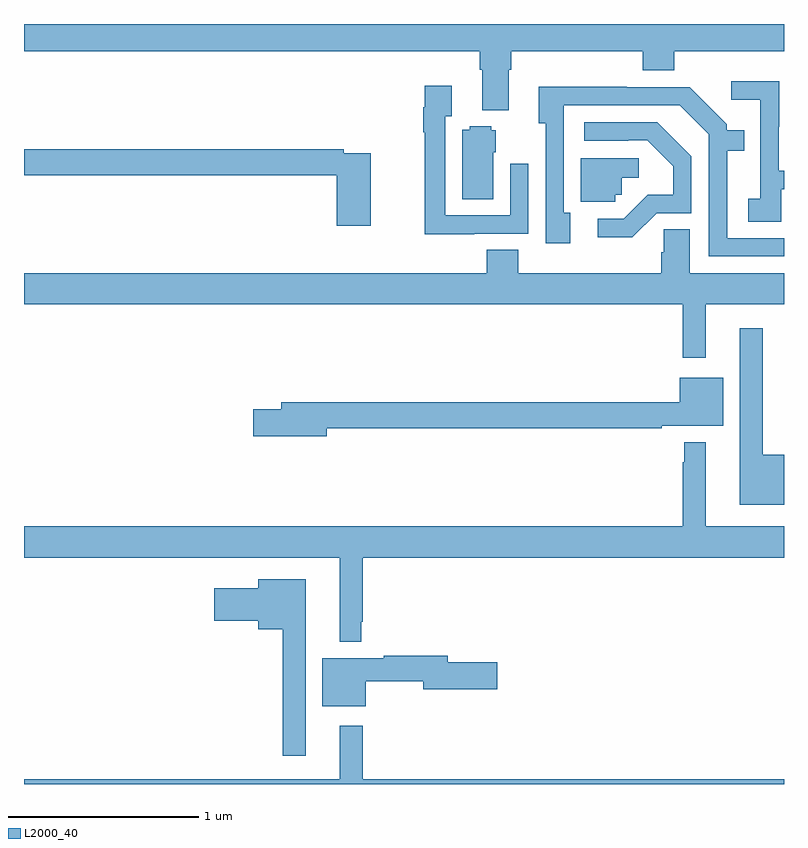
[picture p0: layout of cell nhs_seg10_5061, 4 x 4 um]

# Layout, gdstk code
import gdstk
lib = gdstk.Library(unit=1e-6, precision=1e-09)
def P(c, l, *ps):  # polygons
    for p in ps: c.add(gdstk.Polygon(p, *l))
L2000_40 = (2000, 40)

nhs_seg10_5061 = lib.new_cell('nhs_seg10_5061')
P(nhs_seg10_5061, L2000_40, [(407.551,1260.26),(407.564,1260.26),(407.564,1260.356),(408.257,1260.356),(408.257,1260.257),(408.422,1260.257),(408.422,1260.356),(409,1260.356),(409,1260.5),(405,1260.5),(405,1260.356),(407.399,1260.356),(407.399,1260.26),(407.411,1260.26),(407.411,1260.047),(407.551,1260.047)],
  [(408.985,1259.629),(409,1259.629),(409,1259.727),(408.972,1259.727),(408.972,1259.96),(408.975,1259.96),(408.975,1260.199),(408.723,1260.199),(408.723,1260.101),(408.876,1260.101),(408.876,1259.58),(408.813,1259.58),(408.813,1259.458),(408.985,1259.458)],
  [(407.371,1259.397),(407.655,1259.397),(407.655,1259.764),(407.559,1259.764),(407.559,1259.493),(407.217,1259.493),(407.217,1260.014),(407.251,1260.014),(407.251,1260.175),(407.109,1260.175),(407.109,1260.062),(407.101,1260.062),(407.101,1259.93),(407.109,1259.93),(407.109,1259.393),(407.371,1259.393)],
  [(409,1259.373),(408.7,1259.373),(408.7,1259.832),(408.791,1259.832),(408.791,1259.941),(408.699,1259.941),(408.699,1259.973),(408.504,1260.168),(408.173,1260.168),(408.173,1260.17),(407.708,1260.17),(407.708,1259.978),(407.745,1259.978),(407.745,1259.346),(407.875,1259.346),(407.875,1259.506),(407.841,1259.506),(407.841,1260.072),(408.45,1260.072),(408.603,1259.919),(408.603,1259.277),(409,1259.277)],
  [(408.33,1259.505),(408.513,1259.505),(408.513,1259.803),(408.334,1259.982),(407.949,1259.982),(407.949,1259.886),(408.179,1259.886),(408.179,1259.889),(408.279,1259.889),(408.416,1259.752),(408.416,1259.602),(408.283,1259.602),(408.156,1259.475),(408.021,1259.475),(408.021,1259.378),(408.202,1259.378)],
  [(407.47,1259.826),(407.482,1259.826),(407.482,1259.94),(407.46,1259.94),(407.46,1259.962),(407.346,1259.962),(407.346,1259.944),(407.306,1259.944),(407.306,1259.578),(407.47,1259.578)],
  [(406.824,1259.82),(406.682,1259.82),(406.682,1259.84),(405,1259.84),(405,1259.704),(406.646,1259.704),(406.646,1259.439),(406.824,1259.439)],
  [(408.111,1259.601),(408.147,1259.601),(408.147,1259.69),(408.235,1259.69),(408.235,1259.793),(407.93,1259.793),(407.93,1259.565),(408.111,1259.565)],
  [(408.505,1259.42),(408.367,1259.42),(408.367,1259.298),(408.353,1259.298),(408.353,1259.188),(407.6,1259.188),(407.6,1259.312),(407.435,1259.312),(407.435,1259.188),(405,1259.188),(405,1259.024),(408.468,1259.024),(408.468,1258.743),(408.589,1258.743),(408.589,1259.024),(409,1259.024),(409,1259.188),(408.505,1259.188)],
  [(409,1258.234),(408.889,1258.234),(408.889,1258.9),(408.767,1258.9),(408.767,1257.971),(409,1257.971)],
  [(406.594,1258.372),(408.356,1258.372),(408.356,1258.385),(408.679,1258.385),(408.679,1258.639),(408.452,1258.639),(408.452,1258.508),(406.355,1258.508),(406.355,1258.472),(406.206,1258.472),(406.206,1258.33),(406.594,1258.33)],
  [(406.776,1257.355),(406.783,1257.355),(406.783,1257.692),(409,1257.692),(409,1257.856),(408.589,1257.856),(408.589,1258.3),(408.474,1258.3),(408.474,1258.193),(408.468,1258.193),(408.468,1257.856),(405,1257.856),(405,1257.692),(406.661,1257.692),(406.661,1257.248),(406.776,1257.248)],
  [(406.483,1257.577),(406.232,1257.577),(406.232,1257.529),(406.002,1257.529),(406.002,1257.359),(406.232,1257.359),(406.232,1257.314),(406.362,1257.314),(406.362,1256.649),(406.483,1256.649)],
  [(406.798,1257.04),(407.102,1257.04),(407.102,1256.998),(407.491,1256.998),(407.491,1257.14),(407.23,1257.14),(407.23,1257.176),(406.894,1257.176),(406.894,1257.163),(406.571,1257.163),(406.571,1256.909),(406.798,1256.909)],
  [(409,1256.524),(406.783,1256.524),(406.783,1256.806),(406.661,1256.806),(406.661,1256.524),(405,1256.524),(405,1256.5),(409,1256.5)])

lib.write_gds('nhs_seg10_5061.gds')
